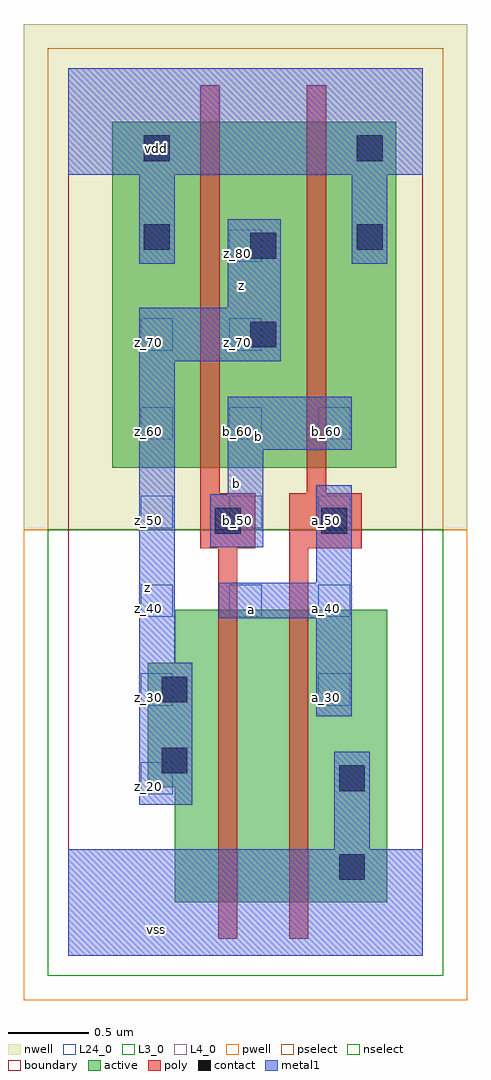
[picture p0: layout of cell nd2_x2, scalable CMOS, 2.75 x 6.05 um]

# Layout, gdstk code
import gdstk
lib = gdstk.Library(unit=1e-6, precision=2.5e-09)
def R(c, l, rs):  # rectangles x0, y0, x1, y1
    for r in rs: c.add(gdstk.rectangle(r[:2], r[2:], *l))
def A(c, l, x, y, w, h, nx, ny, dx, dy):  # array of equal rectangles
    R(c, l, [(x+i*dx, y+j*dy, x+i*dx+w, y+j*dy+h) for i in range(nx) for j in range(ny)])
L3_0 = (3, 0)
L4_0 = (4, 0)
L24_0 = (24, 0)
contact = (25, 0)
pwell = (41, 0)
nwell = (42, 0)
active = (43, 0)
pselect = (44, 0)
nselect = (45, 0)
poly = (46, 0)
metal1 = (49, 0)
boundary = (63, 0)

nd2_x2 = lib.new_cell('nd2_x2')
R(nd2_x2, L3_0, [(0.66,0.33,1.98,1.045), (0.495,1.045,1.98,1.815), (0.66,1.815,1.98,2.145)])
R(nd2_x2, L4_0, [(0.275,3.025,2.035,5.17)])
A(nd2_x2, L24_0, 0.45, 2.1, 0.2, 0.2, 3, 3, 0.55, 0.55)
R(nd2_x2, L24_0, [(0.45,1,0.65,1.2), (0.45,1.55,0.65,1.75), (1.55,1.55,1.75,1.75), (0.45,3.75,0.65,3.95), (1,3.75,1.2,3.95), (1,4.3,1.2,4.5)])
R(nd2_x2, contact, [(1.68,0.47,1.84,0.63), (1.68,1.02,1.84,1.18), (0.58,1.13,0.74,1.29), (0.58,1.57,0.74,1.73), (0.91,2.615,1.07,2.775), (1.57,2.615,1.73,2.775), (1.13,3.77,1.29,3.93), (1.13,4.32,1.29,4.48), (0.47,4.375,0.63,4.535), (1.79,4.375,1.95,4.535), (0.47,4.925,0.63,5.085), (1.79,4.925,1.95,5.085)])
R(nd2_x2, pwell, [(-0.275,-0.275,2.475,2.64)])
R(nd2_x2, nwell, [(-0.275,2.64,2.475,5.775)])
R(nd2_x2, active, [(0.66,0.33,1.98,1.045), (0.495,1.045,1.98,1.815), (0.66,1.815,1.98,2.145), (0.275,3.025,2.035,5.17)])
R(nd2_x2, pselect, [(-0.125,2.64,2.325,5.625)])
R(nd2_x2, nselect, [(-0.125,-0.125,2.325,2.64)])
R(nd2_x2, poly, [(0.93,0.105,1.05,2.525), (1.37,0.105,1.49,2.525), (0.82,2.525,1.16,2.865), (1.37,2.525,1.82,2.865), (0.82,2.865,0.94,5.395), (1.48,2.865,1.6,5.395)])
R(nd2_x2, metal1, [(0,0,2.2,0.66), (1.65,0.66,1.87,1.265), (0.44,0.935,0.77,1.815), (1.54,1.485,1.76,2.09), (0.44,1.815,0.66,3.685), (0.935,2.09,1.76,2.31), (1.54,2.31,1.76,2.915), (0.88,2.53,1.21,2.86), (0.99,2.86,1.21,3.135), (0.99,3.135,1.76,3.465), (0.44,3.685,1.32,4.015), (0.99,4.015,1.32,4.565), (0.44,4.29,0.66,4.84), (1.76,4.29,1.98,4.84), (0,4.84,2.2,5.5)])
R(nd2_x2, boundary, [(0,0,2.2,5.5)])
nd2_x2.add(gdstk.Label('vss', (0.55,0.165), layer=49, texttype=0))
nd2_x2.add(gdstk.Label('a', (1.14,2.145), layer=49, texttype=0))
nd2_x2.add(gdstk.Label('b', (1.045,2.9275), layer=49, texttype=0))
nd2_x2.add(gdstk.Label('b', (1.1825,3.2175), layer=49, texttype=0))
nd2_x2.add(gdstk.Label('z', (0.495,2.2825), layer=49, texttype=0))
nd2_x2.add(gdstk.Label('z', (1.0725,4.1525), layer=49, texttype=0))
nd2_x2.add(gdstk.Label('vdd', (0.55,5.005), layer=49, texttype=0))
nd2_x2.add(gdstk.Label('a_50', (1.6,2.7), layer=24, texttype=0))
nd2_x2.add(gdstk.Label('b_50', (1.05,2.7), layer=24, texttype=0))
nd2_x2.add(gdstk.Label('z_70', (1.05,3.8), layer=24, texttype=0))
nd2_x2.add(gdstk.Label('z_60', (0.5,3.25), layer=24, texttype=0))
nd2_x2.add(gdstk.Label('z_50', (0.5,2.7), layer=24, texttype=0))
nd2_x2.add(gdstk.Label('z_40', (0.5,2.15), layer=24, texttype=0))
nd2_x2.add(gdstk.Label('z_80', (1.05,4.35), layer=24, texttype=0))
nd2_x2.add(gdstk.Label('b_60', (1.05,3.25), layer=24, texttype=0))
nd2_x2.add(gdstk.Label('b_60', (1.6,3.25), layer=24, texttype=0))
nd2_x2.add(gdstk.Label('a_40', (1.6,2.15), layer=24, texttype=0))
nd2_x2.add(gdstk.Label('a_40', (1.05,2.15), layer=24, texttype=0))
nd2_x2.add(gdstk.Label('z_70', (0.5,3.8), layer=24, texttype=0))
nd2_x2.add(gdstk.Label('z_30', (0.5,1.6), layer=24, texttype=0))
nd2_x2.add(gdstk.Label('z_20', (0.5,1.05), layer=24, texttype=0))
nd2_x2.add(gdstk.Label('a_30', (1.6,1.6), layer=24, texttype=0))

lib.write_gds('nd2_x2.gds')
